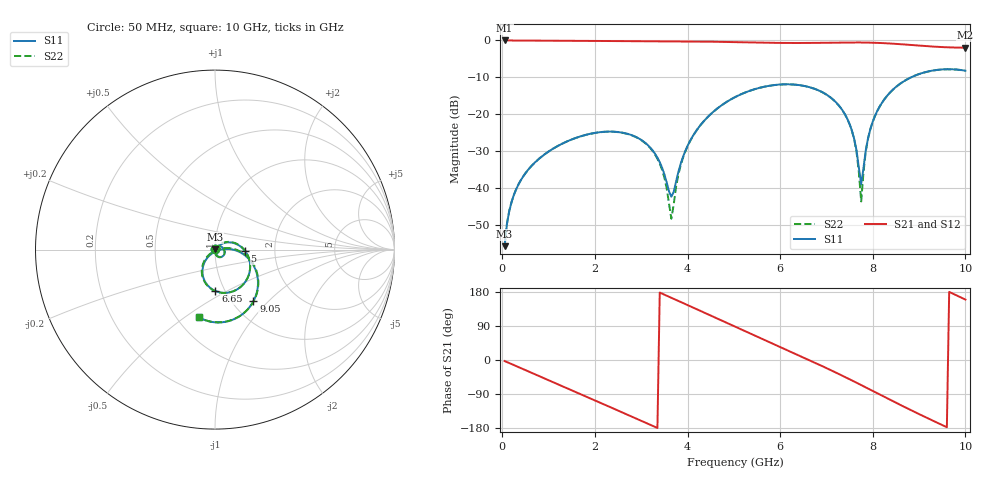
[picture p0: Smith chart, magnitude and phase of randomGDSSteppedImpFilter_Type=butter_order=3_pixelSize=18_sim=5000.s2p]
! freq	dB(S11)	phase(S11)	dB(S12)	phase(S12)
!  dB(S21)	phase(S21)	dB(S22)	phase(S22)
!S-par simulation data
#  GHz  S  DB  R 50
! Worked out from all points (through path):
!   200 points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, 50 MHz to 10 GHz, reference 50 ohm
!   highest |S21| = 0.00 dB at 50 MHz (marker M1); lowest = -2.0 dB at 10 GHz (marker M2)
!   group delay of S21, straight-line fit = 155 ps
!   lowest |S11| = -55.9 dB at 50 MHz (marker M3), VSWR 1.00, Z = 50 + j0.16 ohm
!   |S11| at or under -10 dB: start of sweep to 8.829 GHz
!   |S22| runs from -55.8 to -7.8 dB; largest |S21 - S12| = 0
!   S11 on the Smith chart (normalised r, x): 50 MHz: 1.00, +0.00; 5 GHz: 1.40, -0.02; 6.65 GHz: 0.90, -0.44; 9.05 GHz: 1.25, -0.82; 10 GHz: 0.64, -0.57
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0.05  -55.87 84.1  -0.00 -2.7  -0.00 -2.7  -55.76 83.9
0.2  -43.88 78.2  -0.02 -10.8  -0.02 -10.8  -43.84 77.5
0.5  -36.06 62.9  -0.04 -26.7  -0.04 -26.7  -36.06 62.2
1.75  -25.81 -0.1  -0.12 -93.3  -0.12 -93.3  -25.84 -2.0
2.8  -25.74 -53.2  -0.19 -149.6  -0.19 -149.6  -25.80 -56.8
3.4  -33.06 -73.5  -0.22 177.9  -0.22 177.9  -33.45 -83.2
3.65  -42.42 -18.7  -0.24 164.2  -0.24 164.2  -48.42 -20.3
3.8  -35.81 37.6  -0.25 156.0  -0.25 156.0  -36.54 50.7
4.05  -27.39 41.6  -0.27 142.2  -0.27 142.2  -27.47 46.5
5  -15.56 -2.3  -0.45 89.5  -0.45 89.5  -15.57 -1.6
5.05  -15.24 -4.9  -0.46 86.8  -0.46 86.8  -15.24 -4.3
5.9  -12.08 -49.8  -0.66 39.9  -0.66 39.9  -12.08 -49.9
6.65  -12.75 -89.5  -0.68 -1.5  -0.68 -1.5  -12.76 -90.3
6.7  -12.94 -92.2  -0.67 -4.3  -0.67 -4.3  -12.95 -93.0
7.5  -22.71 -132.0  -0.55 -50.9  -0.55 -50.9  -22.78 -135.9
7.65  -29.93 -129.7  -0.55 -60.0  -0.55 -60.0  -30.33 -139.0
7.75  -39.03 -65.3  -0.56 -66.1  -0.56 -66.1  -43.72 -63.4
7.85  -29.73 -0.1  -0.57 -72.3  -0.57 -72.3  -30.05 9.2
7.95  -23.95 3.4  -0.60 -78.5  -0.60 -78.5  -24.03 8.1
8.35  -14.45 -14.3  -0.81 -103.4  -0.81 -103.4  -14.46 -12.9
9.05  -8.92 -53.2  -1.44 -145.7  -1.44 -145.7  -8.92 -52.8
10  -8.22 -102.9  -1.97 159.5  -1.97 159.5  -8.24 -103.2
